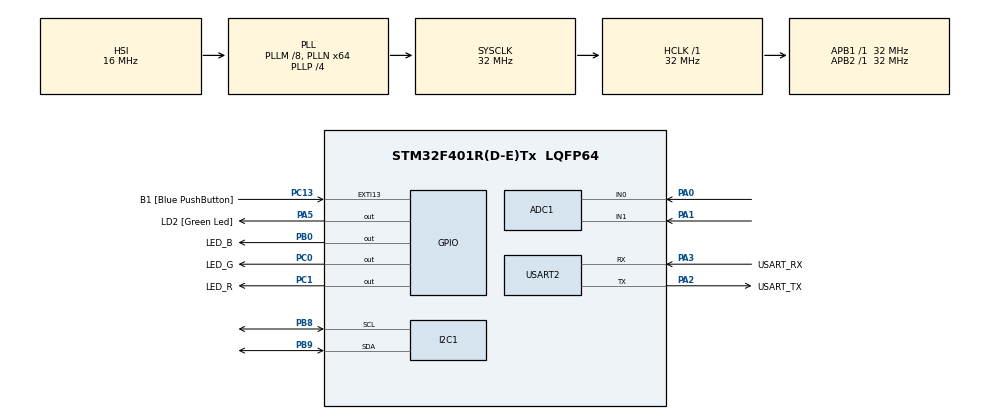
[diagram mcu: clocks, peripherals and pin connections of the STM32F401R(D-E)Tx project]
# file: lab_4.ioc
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ADC1.Channel-0\#ChannelRegularConversion=ADC_CHANNEL_0
ADC1.Channel-1\#ChannelRegularConversion=ADC_CHANNEL_1
ADC1.DMAContinuousRequests=ENABLE
ADC1.ExternalTrigConv=ADC_EXTERNALTRIGCONV_T3_TRGO
ADC1.NbrOfConversion=2
ADC1.NbrOfConversionFlag=1
ADC1.Rank-0\#ChannelRegularConversion=1
ADC1.Rank-1\#ChannelRegularConversion=2
ADC1.SamplingTime-0\#ChannelRegularConversion=ADC_SAMPLETIME_3CYCLES
ADC1.SamplingTime-1\#ChannelRegularConversion=ADC_SAMPLETIME_3CYCLES
ADC1.ScanConvMode=ENABLE
ADC1.master=1
Dma.ADC1.0.Direction=DMA_PERIPH_TO_MEMORY
Dma.ADC1.0.FIFOMode=DMA_FIFOMODE_DISABLE
Dma.ADC1.0.Instance=DMA2_Stream0
Dma.ADC1.0.MemDataAlignment=DMA_MDATAALIGN_HALFWORD
Dma.ADC1.0.MemInc=DMA_MINC_ENABLE
Dma.ADC1.0.Mode=DMA_CIRCULAR
Dma.ADC1.0.PeriphDataAlignment=DMA_PDATAALIGN_HALFWORD
Dma.ADC1.0.PeriphInc=DMA_PINC_DISABLE
Dma.ADC1.0.Priority=DMA_PRIORITY_LOW
Dma.Request0=ADC1
FREERTOS.INCLUDE_vTaskDelayUntil=1
FREERTOS.Tasks01=defaultTask,-3,256,StartDefaultTask,Default,NULL,Dynamic,NULL,NULL;blinkyTask,1,256,StartBlinkyTask,Default,NULL,Dynamic,NULL,NULL;adcTask,2,256,StartAdcTask,Default,NULL,Dynamic,NULL,NULL;rgbTask,1,256,StartRgbTask,Default,NULL,Dynamic,NULL,NULL;lcdPrintTask,0,256,StartLcdPrintTask,Default,NULL,Dynamic,NULL,NULL;countingTask,2,256,StartCountingTask,Default,NULL,Dynamic,NULL,NULL
FREERTOS.configENABLE_FPU=1
FREERTOS.configTOTAL_HEAP_SIZE=16384
FREERTOS.configUSE_COUNTING_SEMAPHORES=1
FREERTOS.configUSE_NEWLIB_REENTRANT=1
FREERTOS.configUSE_RECURSIVE_MUTEXES=1
FREERTOS.configUSE_TRACE_FACILITY=1
Mcu.Family=STM32F4
Mcu.Name=STM32F401R(D-E)Tx
Mcu.Package=LQFP64
NVIC.DMA2_Stream0_IRQn=true\:5\:0\:false\:false\:true\:true\:false\:true\:true
NVIC.EXTI15_10_IRQn=true\:5\:0\:false\:false\:true\:true\:true\:true\:true
NVIC.PriorityGroup=NVIC_PRIORITYGROUP_4
NVIC.TIM1_UP_TIM10_IRQn=true\:15\:0\:false\:false\:true\:false\:false\:true\:true
NVIC.TimeBase=TIM1_UP_TIM10_IRQn
NVIC.TimeBaseIP=TIM1
PA0-WKUP.Signal=ADCx_IN0
PA1.Signal=ADCx_IN1
PA13.GPIO_Label=TMS
PA13.Mode=Serial_Wire
PA13.Signal=SYS_JTMS-SWDIO
PA14.GPIO_Label=TCK
PA14.Mode=Serial_Wire
PA14.Signal=SYS_JTCK-SWCLK
PA2.GPIO_Label=USART_TX
PA2.GPIO_Mode=GPIO_MODE_AF_PP
PA2.GPIO_PuPd=GPIO_NOPULL
PA2.GPIO_Speed=GPIO_SPEED_FREQ_LOW
PA2.Mode=Asynchronous
PA2.Signal=USART2_TX
PA3.GPIO_Label=USART_RX
PA3.GPIO_Mode=GPIO_MODE_AF_PP
PA3.GPIO_PuPd=GPIO_NOPULL
PA3.GPIO_Speed=GPIO_SPEED_FREQ_LOW
PA3.Mode=Asynchronous
PA3.Signal=USART2_RX
PA5.GPIO_Label=LD2 [Green Led]
PA5.GPIO_Mode=GPIO_MODE_OUTPUT_PP
PA5.GPIO_PuPd=GPIO_NOPULL
PA5.GPIO_Speed=GPIO_SPEED_FREQ_LOW
PA5.Signal=GPIO_Output
PB0.GPIO_Label=LED_B
PB0.Signal=GPIO_Output
PB3.GPIO_Label=SWO
PB3.Signal=SYS_JTDO-SWO
PB8.Mode=I2C
PB8.Signal=I2C1_SCL
PB9.Mode=I2C
PB9.Signal=I2C1_SDA
PC0.GPIO_Label=LED_G
PC0.Signal=GPIO_Output
PC1.GPIO_Label=LED_R
PC1.Signal=GPIO_Output
PC13-ANTI_TAMP.GPIO_Label=B1 [Blue PushButton]
PC13-ANTI_TAMP.GPIO_ModeDefaultEXTI=GPIO_MODE_IT_FALLING
PC13-ANTI_TAMP.GPIO_PuPd=GPIO_NOPULL
PC13-ANTI_TAMP.Signal=GPXTI13
PC14-OSC32_IN.Mode=LSE-External-Oscillator
PC14-OSC32_IN.Signal=RCC_OSC32_IN
PC15-OSC32_OUT.Mode=LSE-External-Oscillator
PC15-OSC32_OUT.Signal=RCC_OSC32_OUT
PH0\ -\ OSC_IN.Mode=HSE-External-Clock-Source
PH0\ -\ OSC_IN.Signal=RCC_OSC_IN
PH1\ -\ OSC_OUT.Mode=HSE-External-Clock-Source
PH1\ -\ OSC_OUT.Signal=RCC_OSC_OUT
ProjectManager.HeapSize=0x200
ProjectManager.StackSize=0x400
ProjectManager.TargetToolchain=STM32CubeIDE
RCC.48MHZClocksFreq_Value=18285714.285714287
RCC.AHBFreq_Value=32000000
RCC.APB1Freq_Value=32000000
RCC.APB1TimFreq_Value=32000000
RCC.APB2Freq_Value=32000000
RCC.APB2TimFreq_Value=32000000
RCC.CortexFreq_Value=32000000
RCC.HCLKFreq_Value=32000000
RCC.HSE_VALUE=8000000
RCC.HSI_VALUE=16000000
RCC.PLLM=8
RCC.PLLN=64
RCC.PLLP=RCC_PLLP_DIV4
RCC.PLLQ=7
RCC.SYSCLKFreq_VALUE=32000000
RCC.SYSCLKSource=RCC_SYSCLKSOURCE_PLLCLK
RCC.VCOOutputFreq_Value=128000000
SH.ADCx_IN0.0=ADC1_IN0,IN0
SH.ADCx_IN1.0=ADC1_IN1,IN1
TIM2.Prescaler=32-1
TIM3.Period=4000-1
TIM3.TIM_MasterOutputTrigger=TIM_TRGO_UPDATE
USART2.VirtualMode=VM_ASYNC
VP_FREERTOS_VS_CMSIS_V1.Mode=CMSIS_V1
VP_SYS_VS_tim1.Mode=TIM1
VP_TIM2_VS_ClockSourceINT.Mode=Internal
VP_TIM3_VS_ClockSourceINT.Mode=Internal
board=NUCLEO-F401RE

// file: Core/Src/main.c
/* USER CODE BEGIN Header */
/**
  ******************************************************************************
  * @file           : main.c
  * @brief          : Main program body
  ******************************************************************************
  * @attention
  *
  * Copyright (c) 2022 STMicroelectronics.
  * All rights reserved.
  *
  * This software is licensed under terms that can be found in the LICENSE file
  * in the root directory of this software component.
  * If no LICENSE file comes with this software, it is provided AS-IS.
  *
  ******************************************************************************
  */
/* USER CODE END Header */
#include "main.h"
#include "cmsis_os.h"

/* USER CODE BEGIN Includes */
#include "lcd.h"
#include "utilities.h"
#include <string.h>
#include <stdio.h>
/* USER CODE END Includes */

/* USER CODE BEGIN PD */
#define ADC_BUF_LEN (2*768)
#define FULL_FLAG (1 << 4)
#define HALF_FLAG (1 << 0)
/* USER CODE END PD */

ADC_HandleTypeDef hadc1;
DMA_HandleTypeDef hdma_adc1;

I2C_HandleTypeDef hi2c1;

TIM_HandleTypeDef htim2;
TIM_HandleTypeDef htim3;

UART_HandleTypeDef huart2;

osThreadId defaultTaskHandle;
osThreadId blinkyTaskHandle;
osThreadId adcTaskHandle;
osThreadId rgbTaskHandle;
osThreadId lcdPrintTaskHandle;
osThreadId countingTaskHandle;
/* USER CODE BEGIN PV */
traceString ch0;
traceString adc_ch;
traceString lcd_ch;
struct TextLCDType hlcd;
float adc_val_pot;
float adc_val_sou;
SemaphoreHandle_t adcMutex;
char g_str_top[16];
char g_str_btm[16];
SemaphoreHandle_t lcdMutex;
uint16_t counter = 0;
SemaphoreHandle_t semButtonSemaphore;
uint16_t adc_buf[ADC_BUF_LEN];
EventGroupHandle_t xCreatedEventGroup;
/* USER CODE END PV */

void SystemClock_Config(void);
static void MX_GPIO_Init(void);
static void MX_DMA_Init(void);
static void MX_USART2_UART_Init(void);
static void MX_ADC1_Init(void);
static void MX_TIM2_Init(void);
static void MX_I2C1_Init(void);
static void MX_TIM3_Init(void);
void StartDefaultTask(void const * argument);
void StartBlinkyTask(void const * argument);
void StartAdcTask(void const * argument);
void StartRgbTask(void const * argument);
void StartLcdPrintTask(void const * argument);
void StartCountingTask(void const * argument);

/* USER CODE BEGIN PFP */
void setRGB(uint8_t r, uint8_t g, uint8_t b);
void swapChar(char** a, char** b);
/* USER CODE END PFP */

/* USER CODE BEGIN 0 */
void HAL_GPIO_EXTI_Callback(uint16_t GPIO_Pin)
{
	if (GPIO_Pin == B1_Pin)
	{
		// Here goes your semaphore signaling code
		xSemaphoreGive(semButtonSemaphore);
	}
}
/* USER CODE END 0 */

int main(void)
{

  /* MCU Configuration--------------------------------------------------------*/

  /* Reset of all peripherals, Initializes the Flash interface and the Systick. */
  HAL_Init();

  /* Configure the system clock */
  SystemClock_Config();

  /* USER CODE BEGIN SysInit */

  vTraceEnable(TRC_START);
  ch0 = xTraceRegisterString("ch0");
//  vTracePrintF(ch0, "I am tracing channel %d", 0);
  adc_ch = xTraceRegisterString("adc_ch");
  lcd_ch = xTraceRegisterString("lcd_ch");

  /* USER CODE END SysInit */

  /* Initialize all configured peripherals */
  MX_GPIO_Init();
  MX_DMA_Init();
  MX_USART2_UART_Init();
  MX_ADC1_Init();
  MX_TIM2_Init();
  MX_I2C1_Init();
  MX_TIM3_Init();
  /* USER CODE BEGIN 2 */

  setRGB(0xFF, 0xFF, 0xFF);

	HAL_TIM_Base_Start(&htim2);
	TextLCD_Init(&hlcd, &hi2c1, 0x4E, &htim2);
	sprintf(g_str_top, "Counter: %d", counter);

  /* USER CODE END 2 */

  /* USER CODE BEGIN RTOS_MUTEX */
  adcMutex = xSemaphoreCreateMutex();
  lcdMutex = xSemaphoreCreateMutex();
  /* USER CODE END RTOS_MUTEX */

  /* USER CODE BEGIN RTOS_SEMAPHORES */
  semButtonSemaphore = xSemaphoreCreateCounting(5, 0);
  xCreatedEventGroup = xEventGroupCreate();
  /* USER CODE END RTOS_SEMAPHORES */

  /* Create the thread(s) */
  /* definition and creation of defaultTask */
  osThreadDef(defaultTask, StartDefaultTask, osPriorityIdle, 0, 256);
  defaultTaskHandle = osThreadCreate(osThread(defaultTask), NULL);

  /* definition and creation of blinkyTask */
  osThreadDef(blinkyTask, StartBlinkyTask, osPriorityAboveNormal, 0, 256);
  blinkyTaskHandle = osThreadCreate(osThread(blinkyTask), NULL);

  /* definition and creation of adcTask */
  osThreadDef(adcTask, StartAdcTask, osPriorityHigh, 0, 256);
  adcTaskHandle = osThreadCreate(osThread(adcTask), NULL);

  /* definition and creation of rgbTask */
  osThreadDef(rgbTask, StartRgbTask, osPriorityAboveNormal, 0, 256);
  rgbTaskHandle = osThreadCreate(osThread(rgbTask), NULL);

  /* definition and creation of lcdPrintTask */
  osThreadDef(lcdPrintTask, StartLcdPrintTask, osPriorityNormal, 0, 256);
  lcdPrintTaskHandle = osThreadCreate(osThread(lcdPrintTask), NULL);

  /* definition and creation of countingTask */
  osThreadDef(countingTask, StartCountingTask, osPriorityHigh, 0, 256);
  countingTaskHandle = osThreadCreate(osThread(countingTask), NULL);

  /* Start scheduler */
  osKernelStart();

  /* We should never get here as control is now taken by the scheduler */
  /* Infinite loop */
  while (1)
  {

  }
}

void SystemClock_Config(void)
{
  RCC_OscInitTypeDef RCC_OscInitStruct = {0};
  RCC_ClkInitTypeDef RCC_ClkInitStruct = {0};

  /** Configure the main internal regulator output voltage
  */
  __HAL_RCC_PWR_CLK_ENABLE();
  __HAL_PWR_VOLTAGESCALING_CONFIG(PWR_REGULATOR_VOLTAGE_SCALE2);

  /** Initializes the RCC Oscillators according to the specified parameters
  * in the RCC_OscInitTypeDef structure.
  */
  RCC_OscInitStruct.OscillatorType = RCC_OSCILLATORTYPE_HSI;
  RCC_OscInitStruct.HSIState = RCC_HSI_ON;
  RCC_OscInitStruct.HSICalibrationValue = RCC_HSICALIBRATION_DEFAULT;
  RCC_OscInitStruct.PLL.PLLState = RCC_PLL_ON;
  RCC_OscInitStruct.PLL.PLLSource = RCC_PLLSOURCE_HSI;
  RCC_OscInitStruct.PLL.PLLM = 8;
  RCC_OscInitStruct.PLL.PLLN = 64;
  RCC_OscInitStruct.PLL.PLLP = RCC_PLLP_DIV4;
  RCC_OscInitStruct.PLL.PLLQ = 7;
  if (HAL_RCC_OscConfig(&RCC_OscInitStruct) != HAL_OK)
  {
    Error_Handler();
  }

  /** Initializes the CPU, AHB and APB buses clocks
  */
  RCC_ClkInitStruct.ClockType = RCC_CLOCKTYPE_HCLK|RCC_CLOCKTYPE_SYSCLK
                              |RCC_CLOCKTYPE_PCLK1|RCC_CLOCKTYPE_PCLK2;
  RCC_ClkInitStruct.SYSCLKSource = RCC_SYSCLKSOURCE_PLLCLK;
  RCC_ClkInitStruct.AHBCLKDivider = RCC_SYSCLK_DIV1;
  RCC_ClkInitStruct.APB1CLKDivider = RCC_HCLK_DIV1;
  RCC_ClkInitStruct.APB2CLKDivider = RCC_HCLK_DIV1;

  if (HAL_RCC_ClockConfig(&RCC_ClkInitStruct, FLASH_LATENCY_1) != HAL_OK)
  {
    Error_Handler();
  }
}

static void MX_ADC1_Init(void)
{

  ADC_ChannelConfTypeDef sConfig = {0};

  /** Configure the global features of the ADC (Clock, Resolution, Data Alignment and number of conversion)
  */
  hadc1.Instance = ADC1;
  hadc1.Init.ClockPrescaler = ADC_CLOCK_SYNC_PCLK_DIV2;
  hadc1.Init.Resolution = ADC_RESOLUTION_12B;
  hadc1.Init.ScanConvMode = ENABLE;
  hadc1.Init.ContinuousConvMode = DISABLE;
  hadc1.Init.DiscontinuousConvMode = DISABLE;
  hadc1.Init.ExternalTrigConvEdge = ADC_EXTERNALTRIGCONVEDGE_RISING;
  hadc1.Init.ExternalTrigConv = ADC_EXTERNALTRIGCONV_T3_TRGO;
  hadc1.Init.DataAlign = ADC_DATAALIGN_RIGHT;
  hadc1.Init.NbrOfConversion = 2;
  hadc1.Init.DMAContinuousRequests = ENABLE;
  hadc1.Init.EOCSelection = ADC_EOC_SINGLE_CONV;
  if (HAL_ADC_Init(&hadc1) != HAL_OK)
  {
    Error_Handler();
  }

  /** Configure for the selected ADC regular channel its corresponding rank in the sequencer and its sample time.
  */
  sConfig.Channel = ADC_CHANNEL_0;
  sConfig.Rank = 1;
  sConfig.SamplingTime = ADC_SAMPLETIME_3CYCLES;
  if (HAL_ADC_ConfigChannel(&hadc1, &sConfig) != HAL_OK)
  {
    Error_Handler();
  }

  /** Configure for the selected ADC regular channel its corresponding rank in the sequencer and its sample time.
  */
  sConfig.Channel = ADC_CHANNEL_1;
  sConfig.Rank = 2;
  if (HAL_ADC_ConfigChannel(&hadc1, &sConfig) != HAL_OK)
  {
    Error_Handler();
  }

}

static void MX_I2C1_Init(void)
{

  hi2c1.Instance = I2C1;
  hi2c1.Init.ClockSpeed = 100000;
  hi2c1.Init.DutyCycle = I2C_DUTYCYCLE_2;
  hi2c1.Init.OwnAddress1 = 0;
  hi2c1.Init.AddressingMode = I2C_ADDRESSINGMODE_7BIT;
  hi2c1.Init.DualAddressMode = I2C_DUALADDRESS_DISABLE;
  hi2c1.Init.OwnAddress2 = 0;
  hi2c1.Init.GeneralCallMode = I2C_GENERALCALL_DISABLE;
  hi2c1.Init.NoStretchMode = I2C_NOSTRETCH_DISABLE;
  if (HAL_I2C_Init(&hi2c1) != HAL_OK)
  {
    Error_Handler();
  }

}

static void MX_TIM2_Init(void)
{

  TIM_ClockConfigTypeDef sClockSourceConfig = {0};
  TIM_MasterConfigTypeDef sMasterConfig = {0};

  htim2.Instance = TIM2;
  htim2.Init.Prescaler = 32-1;
  htim2.Init.CounterMode = TIM_COUNTERMODE_UP;
  htim2.Init.Period = 4294967295;
  htim2.Init.ClockDivision = TIM_CLOCKDIVISION_DIV1;
  htim2.Init.AutoReloadPreload = TIM_AUTORELOAD_PRELOAD_DISABLE;
  if (HAL_TIM_Base_Init(&htim2) != HAL_OK)
  {
    Error_Handler();
  }
  sClockSourceConfig.ClockSource = TIM_CLOCKSOURCE_INTERNAL;
  if (HAL_TIM_ConfigClockSource(&htim2, &sClockSourceConfig) != HAL_OK)
  {
    Error_Handler();
  }
  sMasterConfig.MasterOutputTrigger = TIM_TRGO_RESET;
  sMasterConfig.MasterSlaveMode = TIM_MASTERSLAVEMODE_DISABLE;
  if (HAL_TIMEx_MasterConfigSynchronization(&htim2, &sMasterConfig) != HAL_OK)
  {
    Error_Handler();
  }

}

static void MX_TIM3_Init(void)
{

  TIM_ClockConfigTypeDef sClockSourceConfig = {0};
  TIM_MasterConfigTypeDef sMasterConfig = {0};

  htim3.Instance = TIM3;
  htim3.Init.Prescaler = 0;
  htim3.Init.CounterMode = TIM_COUNTERMODE_UP;
  htim3.Init.Period = 4000-1;
  htim3.Init.ClockDivision = TIM_CLOCKDIVISION_DIV1;
  htim3.Init.AutoReloadPreload = TIM_AUTORELOAD_PRELOAD_DISABLE;
  if (HAL_TIM_Base_Init(&htim3) != HAL_OK)
  {
    Error_Handler();
  }
  sClockSourceConfig.ClockSource = TIM_CLOCKSOURCE_INTERNAL;
  if (HAL_TIM_ConfigClockSource(&htim3, &sClockSourceConfig) != HAL_OK)
  {
    Error_Handler();
  }
  sMasterConfig.MasterOutputTrigger = TIM_TRGO_UPDATE;
  sMasterConfig.MasterSlaveMode = TIM_MASTERSLAVEMODE_DISABLE;
  if (HAL_TIMEx_MasterConfigSynchronization(&htim3, &sMasterConfig) != HAL_OK)
  {
    Error_Handler();
  }

}

static void MX_USART2_UART_Init(void)
{

  huart2.Instance = USART2;
  huart2.Init.BaudRate = 115200;
  huart2.Init.WordLength = UART_WORDLENGTH_8B;
  huart2.Init.StopBits = UART_STOPBITS_1;
  huart2.Init.Parity = UART_PARITY_NONE;
  huart2.Init.Mode = UART_MODE_TX_RX;
  huart2.Init.HwFlowCtl = UART_HWCONTROL_NONE;
  huart2.Init.OverSampling = UART_OVERSAMPLING_16;
  if (HAL_UART_Init(&huart2) != HAL_OK)
  {
    Error_Handler();
  }

}

static void MX_DMA_Init(void)
{

  /* DMA controller clock enable */
  __HAL_RCC_DMA2_CLK_ENABLE();

  /* DMA interrupt init */
  /* DMA2_Stream0_IRQn interrupt configuration */
  HAL_NVIC_SetPriority(DMA2_Stream0_IRQn, 5, 0);
  HAL_NVIC_EnableIRQ(DMA2_Stream0_IRQn);

}

static void MX_GPIO_Init(void)
{
  GPIO_InitTypeDef GPIO_InitStruct = {0};

  /* GPIO Ports Clock Enable */
  __HAL_RCC_GPIOC_CLK_ENABLE();
  __HAL_RCC_GPIOH_CLK_ENABLE();
  __HAL_RCC_GPIOA_CLK_ENABLE();
  __HAL_RCC_GPIOB_CLK_ENABLE();

  /*Configure GPIO pin Output Level */
  HAL_GPIO_WritePin(GPIOC, LED_G_Pin|LED_R_Pin, GPIO_PIN_RESET);

  /*Configure GPIO pin Output Level */
  HAL_GPIO_WritePin(LD2_GPIO_Port, LD2_Pin, GPIO_PIN_RESET);

  /*Configure GPIO pin Output Level */
  HAL_GPIO_WritePin(LED_B_GPIO_Port, LED_B_Pin, GPIO_PIN_RESET);

  /*Configure GPIO pin : B1_Pin */
  GPIO_InitStruct.Pin = B1_Pin;
  GPIO_InitStruct.Mode = GPIO_MODE_IT_FALLING;
  GPIO_InitStruct.Pull = GPIO_NOPULL;
  HAL_GPIO_Init(B1_GPIO_Port, &GPIO_InitStruct);

  /*Configure GPIO pins : LED_G_Pin LED_R_Pin */
  GPIO_InitStruct.Pin = LED_G_Pin|LED_R_Pin;
  GPIO_InitStruct.Mode = GPIO_MODE_OUTPUT_PP;
  GPIO_InitStruct.Pull = GPIO_NOPULL;
  GPIO_InitStruct.Speed = GPIO_SPEED_FREQ_LOW;
  HAL_GPIO_Init(GPIOC, &GPIO_InitStruct);

  /*Configure GPIO pin : LD2_Pin */
  GPIO_InitStruct.Pin = LD2_Pin;
  GPIO_InitStruct.Mode = GPIO_MODE_OUTPUT_PP;
  GPIO_InitStruct.Pull = GPIO_NOPULL;
  GPIO_InitStruct.Speed = GPIO_SPEED_FREQ_LOW;
  HAL_GPIO_Init(LD2_GPIO_Port, &GPIO_InitStruct);

  /*Configure GPIO pin : LED_B_Pin */
  GPIO_InitStruct.Pin = LED_B_Pin;
  GPIO_InitStruct.Mode = GPIO_MODE_OUTPUT_PP;
  GPIO_InitStruct.Pull = GPIO_NOPULL;
  GPIO_InitStruct.Speed = GPIO_SPEED_FREQ_LOW;
  HAL_GPIO_Init(LED_B_GPIO_Port, &GPIO_InitStruct);

  /* EXTI interrupt init*/
  HAL_NVIC_SetPriority(EXTI15_10_IRQn, 5, 0);
  HAL_NVIC_EnableIRQ(EXTI15_10_IRQn);

}

/* USER CODE BEGIN 4 */

void setRGB(uint8_t r, uint8_t g, uint8_t b)
{
	r = r ? GPIO_PIN_SET : GPIO_PIN_RESET; // ternary
	g = g ? GPIO_PIN_SET : GPIO_PIN_RESET;
	b = b ? GPIO_PIN_SET : GPIO_PIN_RESET;
	HAL_GPIO_WritePin(LED_R_GPIO_Port, LED_R_Pin, r);
	HAL_GPIO_WritePin(LED_G_GPIO_Port, LED_G_Pin, g);
	HAL_GPIO_WritePin(LED_B_GPIO_Port, LED_B_Pin, b);
}

void swapChar(char** a, char** b)
{
	char *temp = *a;
	*a = *b;
	*b = temp;
}

// Called when first half of buffer is filled
void HAL_ADC_ConvHalfCpltCallback(ADC_HandleTypeDef* hadc)
{
	vTracePrint(ch0, "HAL_ADC_ConvHalfCpltCallback");
	xEventGroupSetBits(xCreatedEventGroup, HALF_FLAG);

}
// Called when buffer is completely filled
void HAL_ADC_ConvCpltCallback(ADC_HandleTypeDef* hadc)
{
	vTracePrint(ch0, "HAL_ADC_ConvCpltCallback");
	xEventGroupSetBits(xCreatedEventGroup, FULL_FLAG);
}

/* USER CODE END 4 */

void StartDefaultTask(void const * argument)
{
  /* USER CODE BEGIN 5 */
  osDelay(99999);
  /* Infinite loop */
  for(;;)
  {
	  osDelay(99999);
  }
  /* USER CODE END 5 */
}

void StartBlinkyTask(void const * argument)
{
  /* USER CODE BEGIN StartBlinkyTask */
	TickType_t now = xTaskGetTickCount();
  /* Infinite loop */
  for(;;)
  {
	  HAL_GPIO_TogglePin(LD2_GPIO_Port, LD2_Pin);
	  vTaskDelayUntil(&now , 500);
  }
  /* USER CODE END StartBlinkyTask */
}

void StartAdcTask(void const * argument)
{
  /* USER CODE BEGIN StartAdcTask */
	HAL_ADC_Start_DMA(&hadc1, (uint32_t*)adc_buf, ADC_BUF_LEN); // Two Channels interleaved
	HAL_TIM_Base_Start(&htim3);
	TickType_t now = xTaskGetTickCount();
	EventBits_t uxBits;
	float adc_val_pot_temp = 0;
	float adc_val_sou_temp = 0;

  /* Infinite loop */
  for(;;)
  {
	  vTaskDelayUntil(&now, 50);

	  uxBits = xEventGroupWaitBits(
					xCreatedEventGroup,
				  HALF_FLAG | FULL_FLAG,
				  pdTRUE,
				  pdFALSE,
				  10000);

		if((uxBits & HALF_FLAG) != 0)
		{
			adc_val_pot_temp = averageSamples(&adc_buf[0], ADC_BUF_LEN / 4, 2);
			adc_val_sou_temp = soundLevel(&adc_buf[1], ADC_BUF_LEN / 4, 2);
		}
		else if((uxBits & FULL_FLAG)  != 0 )
		{
			adc_val_pot_temp = averageSamples(&adc_buf[768], ADC_BUF_LEN / 4, 2);
			adc_val_sou_temp = soundLevel(&adc_buf[769], ADC_BUF_LEN / 4, 2);
		}

		if( xSemaphoreTake( adcMutex, ( TickType_t ) 1000 ) == pdTRUE )
		{
			adc_val_pot = adc_val_pot_temp;
			adc_val_sou = adc_val_sou_temp;
			xSemaphoreGive( adcMutex );
		}

		if( xSemaphoreTake( lcdMutex, ( TickType_t ) 1000 ) == pdTRUE )
		{
			sprintf(g_str_btm, "%04.1f, %.1f", adc_val_pot, adc_val_sou);
			xSemaphoreGive( lcdMutex );
		}

	 // HAL_ADC_Start(&hadc1);
	 // HAL_ADC_PollForConversion(&hadc1, 100);
	 // adc_reading = HAL_ADC_GetValue(&hadc1);
	 // HAL_ADC_Stop(&hadc1);
	 // vTracePrintF(adc_ch, "ADC value: %d", adc_reading);
	 // sprintf(g_str_btm, "ADC value: %04d", adc_reading);
  }
  /* USER CODE END StartAdcTask */
}

void StartRgbTask(void const * argument)
{
  /* USER CODE BEGIN StartRgbTask */
  /* Infinite loop */

	uint16_t adc_value;
	TickType_t last_blue_tick = 0;
	TickType_t last_red_tick = 0;
	TickType_t now = xTaskGetTickCount();
	for(;;)
	{
		vTaskDelayUntil(&now, 30);

		if (adcMutex != NULL)
		{
			if( xSemaphoreTake( adcMutex, ( TickType_t ) 1000 ) == pdTRUE )
			{
				adc_value = adc_val_pot;
				xSemaphoreGive( adcMutex );
			}
		}
		else
		{
//			vTracePrintF(adc_ch, "adc_value blocked");
		}

	 //red
	 if (adc_value > 3000)
	 {
		 setRGB(0x00, 0xFF, 0x00);
		 last_red_tick = now + 1400;
		 last_blue_tick = now + 600 + 1400;
	 }
	 //yellow
	 else if ((adc_value > 2000) && (now > last_blue_tick))
	 {
		 setRGB(0x00, 0xFF, 0xFF);
	 }
	 //green
	 else if ((adc_value > 1000) && (now > last_blue_tick))
	 {
		 setRGB(0x00, 0x00, 0xFF);
	 }
	 //off
	 else if ((adc_value < 1000) && (now > last_blue_tick))
	 {
		 setRGB(0x00, 0x00, 0x00);
	 }
	 //blue
	 else if (now > last_red_tick)
	 {
		 setRGB(0xFF, 0x00, 0x00);
	 }

  }
  /* USER CODE END StartRgbTask */
}

void StartLcdPrintTask(void const * argument)
{
  /* USER CODE BEGIN StartLcdPrintTask */
	char str_top[16];
	char str_btm[16];

	TickType_t now = xTaskGetTickCount();
	/* Infinite loop */
	for(;;)
	{
		if (lcdMutex != NULL)
		{
			if( xSemaphoreTake ( lcdMutex, ( TickType_t ) 1000 ) == pdTRUE )
			{
				for (int i = 0; i < 16; i++)
				{
					str_top[i] = g_str_top[i];
					str_btm[i] = g_str_btm[i];
				}
				xSemaphoreGive( lcdMutex );
			}
		}
		else
		{
//			vTracePrintF(lcd_ch, "LCD blocked by mutex");
		}

		TextLCD_Position(&hlcd, 0, 0); // marker 1st row
		TextLCD_Puts(&hlcd, str_top);
		TextLCD_Position(&hlcd, 0, 1); // marker 2nd row
		TextLCD_Puts(&hlcd, str_btm);

		vTaskDelayUntil(&now, 50);

//		vTracePrintF(lcd_ch, "LCD Trace");
	}
  /* USER CODE END StartLcdPrintTask */
}

void StartCountingTask(void const * argument)
{
  /* USER CODE BEGIN StartCountingTask */
	/* Infinite loop */
	for (;;)
	{
		if(semButtonSemaphore != NULL)
		{
			if(xSemaphoreTake(semButtonSemaphore, (TickType_t) 1000) == pdTRUE )
			{
				counter++;

				if( xSemaphoreTake( lcdMutex, ( TickType_t ) 1000 ) == pdTRUE )
				{
					sprintf(g_str_top, "Counter: %d", counter);
					xSemaphoreGive( lcdMutex );
				}
			}
		}
		osDelay(2000);
	}

  /* USER CODE END StartCountingTask */
}

void HAL_TIM_PeriodElapsedCallback(TIM_HandleTypeDef *htim)
{
  if (htim->Instance == TIM1) {
    HAL_IncTick();
  }
}

void Error_Handler(void)
{
  __disable_irq();
  while (1)
  {
  }
}
